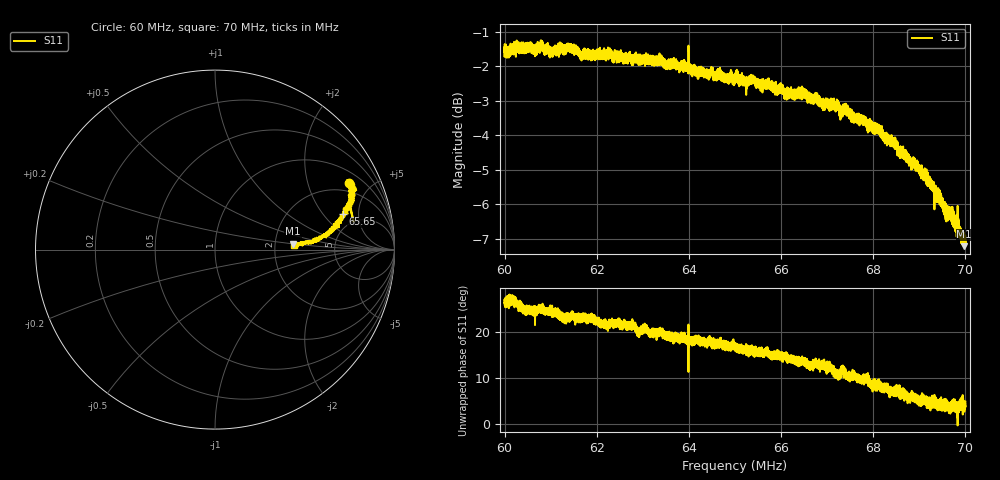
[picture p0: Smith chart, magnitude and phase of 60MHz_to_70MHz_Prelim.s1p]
# HZ S RI R 50
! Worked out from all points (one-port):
!   20200 points, 60 MHz to 70 MHz, reference 50 ohm
!   lowest |S11| = -7.2 dB at 69.97 MHz (marker M1), VSWR 2.55, Z = 126 + j10.4 ohm
!   |S11| at or under -10 dB: nowhere
!   S11 on the Smith chart (normalised r, x): 60 MHz: 1.49, +3.69; 65.65 MHz: 3.71, +3.22; 70 MHz: 2.57, +0.24
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6e7  0.7488 0.3719
6.017919e7  0.7639 0.3843
6.04658e7  0.7628 0.3465
6.079942e7  0.7651 0.3544
6.10197e7  0.7586 0.3474
6.124988e7  0.7805 0.3359
6.139986e7  0.7813 0.3479
6.168152e7  0.7555 0.3191
6.225423e7  0.7596 0.3073
6.249975e7  0.7601 0.318
6.279972e7  0.7568 0.3019
6.29101e7  0.7675 0.2759
6.305564e7  0.763 0.2759
6.374962e7  0.7514 0.2678
6.49995e7  0.7342 0.2251
6.564944e7  0.7106 0.1977
6.624938e7  0.7029 0.1786
6.647559e7  0.7114 0.1706
6.664488e7  0.7019 0.1622
6.706316e7  0.685 0.1542
6.723146e7  0.6879 0.1298
6.735124e7  0.674 0.1484
6.749925e7  0.6552 0.1229
6.81477e7  0.6286 0.0826
6.874912e7  0.5773 0.0604
6.915008e7  0.5546 0.0492
6.997128e7  0.4346 0.0335
6.99985e7  0.443 0.0379
